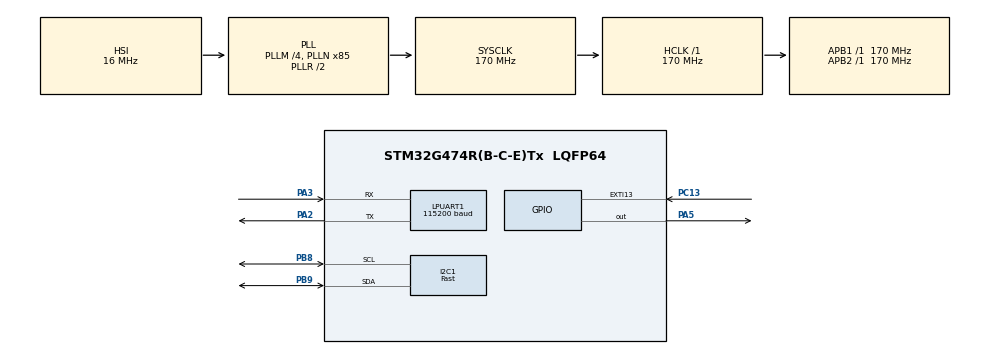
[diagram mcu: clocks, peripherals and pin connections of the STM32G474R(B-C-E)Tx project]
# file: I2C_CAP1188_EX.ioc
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I2C1.I2C_Fall_Time=2
I2C1.I2C_Rise_Time=26
I2C1.I2C_Speed_Mode=I2C_Fast
I2C1.OwnAddress=I2C_ADDRESS
I2C1.Timing=0x20701F64
LPUART1.BaudRate=115200
LPUART1.WordLength=UART_WORDLENGTH_8B
Mcu.Family=STM32G4
Mcu.Name=STM32G474R(B-C-E)Tx
Mcu.Package=LQFP64
Mcu.UserConstants=I2C_ADDRESS,0x30F
NVIC.EXTI15_10_IRQn=true\:0\:0\:false\:false\:true\:true\:true
NVIC.I2C1_ER_IRQn=true\:0\:0\:false\:false\:true\:true\:true
NVIC.I2C1_EV_IRQn=true\:0\:0\:false\:false\:true\:true\:true
NVIC.PriorityGroup=NVIC_PRIORITYGROUP_4
PA2.GPIO_Mode=GPIO_MODE_AF_PP
PA2.GPIO_PuPd=GPIO_NOPULL
PA2.GPIO_Speed=GPIO_SPEED_FREQ_LOW
PA2.Mode=Asynchronous
PA2.Signal=LPUART1_TX
PA3.GPIO_Mode=GPIO_MODE_AF_PP
PA3.GPIO_PuPd=GPIO_NOPULL
PA3.GPIO_Speed=GPIO_SPEED_FREQ_LOW
PA3.Mode=Asynchronous
PA3.Signal=LPUART1_RX
PA5.GPIO_ModeDefaultOutputPP=GPIO_MODE_OUTPUT_PP
PA5.GPIO_PuPd=GPIO_NOPULL
PA5.GPIO_Speed=GPIO_SPEED_FREQ_LOW
PA5.PinState=GPIO_PIN_RESET
PA5.Signal=GPIO_Output
PB8-BOOT0.GPIO_Pu=GPIO_PULLUP
PB8-BOOT0.Mode=I2C
PB8-BOOT0.Signal=I2C1_SCL
PB9.GPIO_Pu=GPIO_PULLUP
PB9.Mode=I2C
PB9.Signal=I2C1_SDA
PC13.GPIO_ModeDefaultEXTI=GPIO_MODE_IT_RISING
PC13.GPIO_PuPd=GPIO_NOPULL
PC13.Signal=GPXTI13
ProjectManager.HeapSize=0x200
ProjectManager.StackSize=0x400
ProjectManager.TargetToolchain=STM32CubeIDE
RCC.ADC12Freq_Value=170000000
RCC.ADC345Freq_Value=170000000
RCC.AHBFreq_Value=170000000
RCC.APB1Freq_Value=170000000
RCC.APB1TimFreq_Value=170000000
RCC.APB2Freq_Value=170000000
RCC.APB2TimFreq_Value=170000000
RCC.CortexFreq_Value=170000000
RCC.EXTERNAL_CLOCK_VALUE=12288000
RCC.HCLKFreq_Value=170000000
RCC.HSE_VALUE=24000000
RCC.HSI48_VALUE=48000000
RCC.HSI_VALUE=16000000
RCC.LSE_VALUE=32768
RCC.PLLM=RCC_PLLM_DIV4
RCC.PLLN=85
RCC.RTCClockSelection=RCC_RTCCLKSOURCE_LSE
RCC.SYSCLKFreq_VALUE=170000000
RCC.SYSCLKSource=RCC_SYSCLKSOURCE_PLLCLK
RCC.USBFreq_Value=170000000
RCC.VCOOutputFreq_Value=340000000
VP_SYS_VS_DBSignals.Mode=DisableDeadBatterySignals
board=NUCLEO-G474RE

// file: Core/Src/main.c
/* USER CODE BEGIN Header */
/**
 ******************************************************************************
 * @file           : main.c
 * @brief          : Main program body
 ******************************************************************************
 * @attention
 *
 * <h2><center>&copy; Copyright (c) 2020 STMicroelectronics.
 * All rights reserved.</center></h2>
 *
 * This software component is licensed by ST under BSD 3-Clause license,
 * the "License"; You may not use this file except in compliance with the
 * License. You may obtain a copy of the License at:
 *                        opensource.org/licenses/BSD-3-Clause
 *
 ******************************************************************************
 */
/* USER CODE END Header */
#include "main.h"

I2C_HandleTypeDef hi2c1;

UART_HandleTypeDef hlpuart1;

/* USER CODE BEGIN PV */
/* Buffer used for transmission */
uint8_t aTxBuffer[] =
		" ****I2C_TwoBoards communication based on IT****  ****I2C_TwoBoards communication based on IT****  ****I2C_TwoBoards communication based on IT**** ";
uint8_t setMultiTouch[] = { CAP1188_MULTITOUCH_ADDR, ENABLE_MULTITOUCH };
uint8_t setLedLink[] = { CAP1188_LED_LINK_ADDR, CAP1188_LED_LINK };
/* Buffer used for reception */
uint8_t aRxBuffer[RXBUFFERSIZE];
/* USER CODE END PV */

void SystemClock_Config(void);
static void MX_GPIO_Init(void);
static void MX_I2C1_Init(void);
static void MX_LPUART1_UART_Init(void);
/* USER CODE BEGIN PFP */
void i2c_cap1188_write(uint16_t i2c_addr, uint8_t *transmit_data,
		uint16_t transmit_size);
/* USER CODE END PFP */

int main(void)
{

  /* MCU Configuration--------------------------------------------------------*/

  /* Reset of all peripherals, Initializes the Flash interface and the Systick. */
  HAL_Init();

  /* Configure the system clock */
  SystemClock_Config();

  /* Initialize all configured peripherals */
  MX_GPIO_Init();
  MX_I2C1_Init();
  MX_LPUART1_UART_Init();

  /* Infinite loop */
  /* USER CODE BEGIN WHILE */
	/* Wait for User push-button press before starting the Communication */
	while (BSP_PB_GetState(BUTTON_USER) != GPIO_PIN_SET) {
	}

	/* Delay to avoid that possible signal rebound is taken as button release */
	HAL_Delay(50);

	/* Wait for User push-button release before starting the Communication */
	while (BSP_PB_GetState(BUTTON_USER) != GPIO_PIN_RESET) {
	}

	/* The board sends the message and expects to receive it back */

	/*##- Enable LED linking and multitouch #####################################*/
	i2c_cap1188_write((uint16_t) I2C_CAP_1188_ADDR, setMultiTouch,
			(uint16_t) TXBUFFERSIZE);
	i2c_cap1188_write((uint16_t) I2C_CAP_1188_ADDR, setLedLink,
			(uint16_t) TXBUFFERSIZE);

	while (1) {
    /* USER CODE END WHILE */

	}
}

void SystemClock_Config(void)
{
  RCC_OscInitTypeDef RCC_OscInitStruct = {0};
  RCC_ClkInitTypeDef RCC_ClkInitStruct = {0};
  RCC_PeriphCLKInitTypeDef PeriphClkInit = {0};

  /** Configure the main internal regulator output voltage
  */
  HAL_PWREx_ControlVoltageScaling(PWR_REGULATOR_VOLTAGE_SCALE1_BOOST);
  /** Initializes the RCC Oscillators according to the specified parameters
  * in the RCC_OscInitTypeDef structure.
  */
  RCC_OscInitStruct.OscillatorType = RCC_OSCILLATORTYPE_HSI;
  RCC_OscInitStruct.HSIState = RCC_HSI_ON;
  RCC_OscInitStruct.HSICalibrationValue = RCC_HSICALIBRATION_DEFAULT;
  RCC_OscInitStruct.PLL.PLLState = RCC_PLL_ON;
  RCC_OscInitStruct.PLL.PLLSource = RCC_PLLSOURCE_HSI;
  RCC_OscInitStruct.PLL.PLLM = RCC_PLLM_DIV4;
  RCC_OscInitStruct.PLL.PLLN = 85;
  RCC_OscInitStruct.PLL.PLLP = RCC_PLLP_DIV2;
  RCC_OscInitStruct.PLL.PLLQ = RCC_PLLQ_DIV2;
  RCC_OscInitStruct.PLL.PLLR = RCC_PLLR_DIV2;
  if (HAL_RCC_OscConfig(&RCC_OscInitStruct) != HAL_OK)
  {
    Error_Handler();
  }
  /** Initializes the CPU, AHB and APB buses clocks
  */
  RCC_ClkInitStruct.ClockType = RCC_CLOCKTYPE_HCLK|RCC_CLOCKTYPE_SYSCLK
                              |RCC_CLOCKTYPE_PCLK1|RCC_CLOCKTYPE_PCLK2;
  RCC_ClkInitStruct.SYSCLKSource = RCC_SYSCLKSOURCE_PLLCLK;
  RCC_ClkInitStruct.AHBCLKDivider = RCC_SYSCLK_DIV1;
  RCC_ClkInitStruct.APB1CLKDivider = RCC_HCLK_DIV1;
  RCC_ClkInitStruct.APB2CLKDivider = RCC_HCLK_DIV1;

  if (HAL_RCC_ClockConfig(&RCC_ClkInitStruct, FLASH_LATENCY_4) != HAL_OK)
  {
    Error_Handler();
  }
  /** Initializes the peripherals clocks
  */
  PeriphClkInit.PeriphClockSelection = RCC_PERIPHCLK_LPUART1|RCC_PERIPHCLK_I2C1;
  PeriphClkInit.Lpuart1ClockSelection = RCC_LPUART1CLKSOURCE_PCLK1;
  PeriphClkInit.I2c1ClockSelection = RCC_I2C1CLKSOURCE_PCLK1;
  if (HAL_RCCEx_PeriphCLKConfig(&PeriphClkInit) != HAL_OK)
  {
    Error_Handler();
  }
}

static void MX_I2C1_Init(void)
{

  hi2c1.Instance = I2C1;
  hi2c1.Init.Timing = 0x20701F64;
  hi2c1.Init.OwnAddress1 = I2C_ADDRESS;
  hi2c1.Init.AddressingMode = I2C_ADDRESSINGMODE_7BIT;
  hi2c1.Init.DualAddressMode = I2C_DUALADDRESS_DISABLE;
  hi2c1.Init.OwnAddress2 = 0;
  hi2c1.Init.OwnAddress2Masks = I2C_OA2_NOMASK;
  hi2c1.Init.GeneralCallMode = I2C_GENERALCALL_DISABLE;
  hi2c1.Init.NoStretchMode = I2C_NOSTRETCH_DISABLE;
  if (HAL_I2C_Init(&hi2c1) != HAL_OK)
  {
    Error_Handler();
  }
  /** Configure Analogue filter
  */
  if (HAL_I2CEx_ConfigAnalogFilter(&hi2c1, I2C_ANALOGFILTER_ENABLE) != HAL_OK)
  {
    Error_Handler();
  }
  /** Configure Digital filter
  */
  if (HAL_I2CEx_ConfigDigitalFilter(&hi2c1, 0) != HAL_OK)
  {
    Error_Handler();
  }

}

static void MX_LPUART1_UART_Init(void)
{

  hlpuart1.Instance = LPUART1;
  hlpuart1.Init.BaudRate = 115200;
  hlpuart1.Init.WordLength = UART_WORDLENGTH_8B;
  hlpuart1.Init.StopBits = UART_STOPBITS_1;
  hlpuart1.Init.Parity = UART_PARITY_NONE;
  hlpuart1.Init.Mode = UART_MODE_TX_RX;
  hlpuart1.Init.HwFlowCtl = UART_HWCONTROL_NONE;
  hlpuart1.Init.OneBitSampling = UART_ONE_BIT_SAMPLE_DISABLE;
  hlpuart1.Init.ClockPrescaler = UART_PRESCALER_DIV1;
  hlpuart1.AdvancedInit.AdvFeatureInit = UART_ADVFEATURE_NO_INIT;
  if (HAL_UART_Init(&hlpuart1) != HAL_OK)
  {
    Error_Handler();
  }
  if (HAL_UARTEx_SetTxFifoThreshold(&hlpuart1, UART_TXFIFO_THRESHOLD_1_8) != HAL_OK)
  {
    Error_Handler();
  }
  if (HAL_UARTEx_SetRxFifoThreshold(&hlpuart1, UART_RXFIFO_THRESHOLD_1_8) != HAL_OK)
  {
    Error_Handler();
  }
  if (HAL_UARTEx_DisableFifoMode(&hlpuart1) != HAL_OK)
  {
    Error_Handler();
  }

}

static void MX_GPIO_Init(void)
{
  GPIO_InitTypeDef GPIO_InitStruct = {0};

  /* GPIO Ports Clock Enable */
  __HAL_RCC_GPIOC_CLK_ENABLE();
  __HAL_RCC_GPIOA_CLK_ENABLE();
  __HAL_RCC_GPIOB_CLK_ENABLE();

  /*Configure GPIO pin Output Level */
  HAL_GPIO_WritePin(GPIOA, GPIO_PIN_5, GPIO_PIN_RESET);

  /*Configure GPIO pin : PC13 */
  GPIO_InitStruct.Pin = GPIO_PIN_13;
  GPIO_InitStruct.Mode = GPIO_MODE_IT_RISING;
  GPIO_InitStruct.Pull = GPIO_NOPULL;
  HAL_GPIO_Init(GPIOC, &GPIO_InitStruct);

  /*Configure GPIO pin : PA5 */
  GPIO_InitStruct.Pin = GPIO_PIN_5;
  GPIO_InitStruct.Mode = GPIO_MODE_OUTPUT_PP;
  GPIO_InitStruct.Pull = GPIO_NOPULL;
  GPIO_InitStruct.Speed = GPIO_SPEED_FREQ_LOW;
  HAL_GPIO_Init(GPIOA, &GPIO_InitStruct);

  /* EXTI interrupt init*/
  HAL_NVIC_SetPriority(EXTI15_10_IRQn, 0, 0);
  HAL_NVIC_EnableIRQ(EXTI15_10_IRQn);

}

/* USER CODE BEGIN 4 */
/**
 * @brief  Tx Transfer completed callback.
 * @param  I2cHandle: I2C handle.
 * @note   This example shows a simple way to report end of IT Tx transfer, and
 *         you can add your own implementation.
 * @retval None
 */
#ifdef MASTER_BOARD
void HAL_I2C_MasterTxCpltCallback(I2C_HandleTypeDef *I2cHandle)
{
  /* Toggle LED2: Transfer in transmission process is correct */
  BSP_LED_Toggle(LED2);
}
#else
void HAL_I2C_SlaveTxCpltCallback(I2C_HandleTypeDef *I2cHandle) {
	/* Toggle LED2: Transfer in transmission process is correct */
	BSP_LED_Toggle(LED2);
}
#endif /* MASTER_BOARD */

/**
 * @brief  Rx Transfer completed callback.
 * @param  I2cHandle: I2C handle
 * @note   This example shows a simple way to report end of IT Rx transfer, and
 *         you can add your own implementation.
 * @retval None
 */
#ifdef MASTER_BOARD
void HAL_I2C_MasterRxCpltCallback(I2C_HandleTypeDef *I2cHandle)
{
  /* Toggle LED2: Transfer in reception process is correct */
  BSP_LED_Toggle(LED2);
}
#else
void HAL_I2C_SlaveRxCpltCallback(I2C_HandleTypeDef *I2cHandle) {
	/* Toggle LED2: Transfer in reception process is correct */
	BSP_LED_Toggle(LED2);
}
#endif /* MASTER_BOARD */

/**
 * @brief  I2C error callbacks.
 * @param  I2cHandle: I2C handle
 * @note   This example shows a simple way to report transfer error, and you can
 *         add your own implementation.
 * @retval None
 */
void HAL_I2C_ErrorCallback(I2C_HandleTypeDef *I2cHandle) {
	/** Error_Handler() function is called when error occurs.
	 * 1- When Slave doesn't acknowledge its address, Master restarts communication.
	 * 2- When Master doesn't acknowledge the last data transferred, Slave doesn't care in this example.
	 */
	if (HAL_I2C_GetError(I2cHandle) != HAL_I2C_ERROR_AF) {
		Error_Handler();
	}
}

void i2c_cap1188_write(uint16_t i2c_addr, uint8_t *transmit_data,
		uint16_t transmit_size) {
	do {
		if (HAL_I2C_Master_Transmit_IT(&hi2c1, i2c_addr, transmit_data,
				transmit_size) != HAL_OK) {
			/* Error_Handler() function is called when error occurs. */
			Error_Handler();
		}

		/*##- Wait for the end of the transfer #################################*/
		/*  Before starting a new communication transfer, you need to check the current
		 state of the peripheral; if it�s busy you need to wait for the end of current
		 transfer before starting a new one.
		 For simplicity reasons, this example is just waiting till the end of the
		 transfer, but application may perform other tasks while transfer operation
		 is ongoing. */
		while (HAL_I2C_GetState(&hi2c1) != HAL_I2C_STATE_READY) {
		}

		/* When Acknowledge failure occurs (Slave don't acknowledge it's address)
		 Master restarts communication */
	} while (HAL_I2C_GetError(&hi2c1) == HAL_I2C_ERROR_AF);

}

/* USER CODE END 4 */

void Error_Handler(void)
{
  /* USER CODE BEGIN Error_Handler_Debug */
	/* User can add his own implementation to report the HAL error return state */
	/* Error if LED2 is slowly blinking (1 sec. period) */
	while (1) {
		BSP_LED_Toggle(LED2);
		HAL_Delay(1000);
	}
  /* USER CODE END Error_Handler_Debug */
}

/************************ (C) COPYRIGHT STMicroelectronics *****END OF FILE****/
